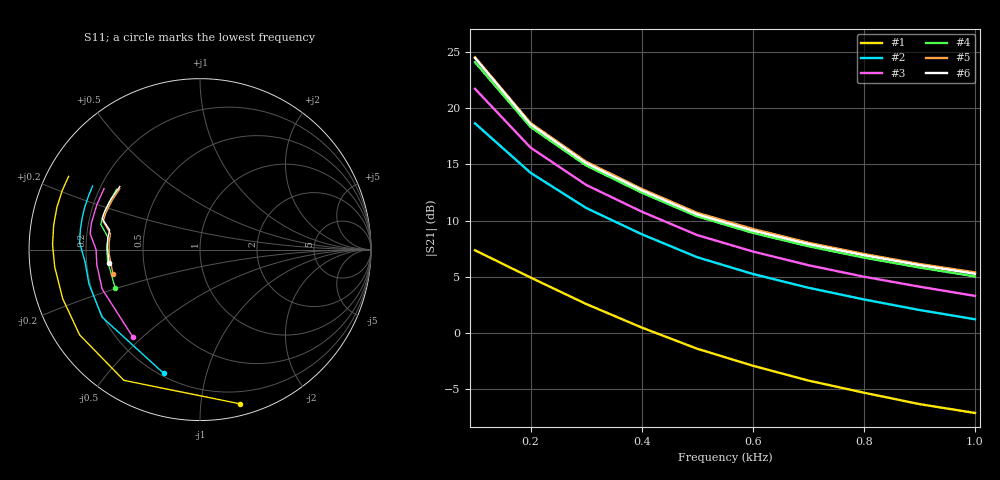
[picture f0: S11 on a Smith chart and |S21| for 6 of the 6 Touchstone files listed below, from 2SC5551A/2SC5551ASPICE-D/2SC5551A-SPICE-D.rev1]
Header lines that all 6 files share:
#  HZ  S  MA  R  50.0000
! Device:2SC5551A
!MHZ	S11(MAG/ANG)		S21(MAG/ANG)		S12(MAG/ANG)		S22(MAG/ANG)
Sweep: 100 Hz to 1 kHz
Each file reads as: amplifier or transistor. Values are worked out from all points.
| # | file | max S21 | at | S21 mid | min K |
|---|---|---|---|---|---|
| 1 | 5V1mA.s2p | 7.4 dB | 100 Hz | -2.9 dB at 600 Hz | 0.12 |
| 2 | 5V5mA.s2p | 18.7 dB | 100 Hz | 5.3 dB at 600 Hz | 0.26 |
| 3 | 5V10mA.s2p | 21.7 dB | 100 Hz | 7.3 dB at 600 Hz | 0.44 |
| 4 | 5V30mA.s2p | 24.1 dB | 100 Hz | 8.9 dB at 600 Hz | 0.78 |
| 5 | 5V50mA.s2p | 24.5 dB | 100 Hz | 9.3 dB at 600 Hz | 0.88 |
| 6 | 5V100mA.s2p | 24.5 dB | 100 Hz | 9.1 dB at 600 Hz | 0.94 |
